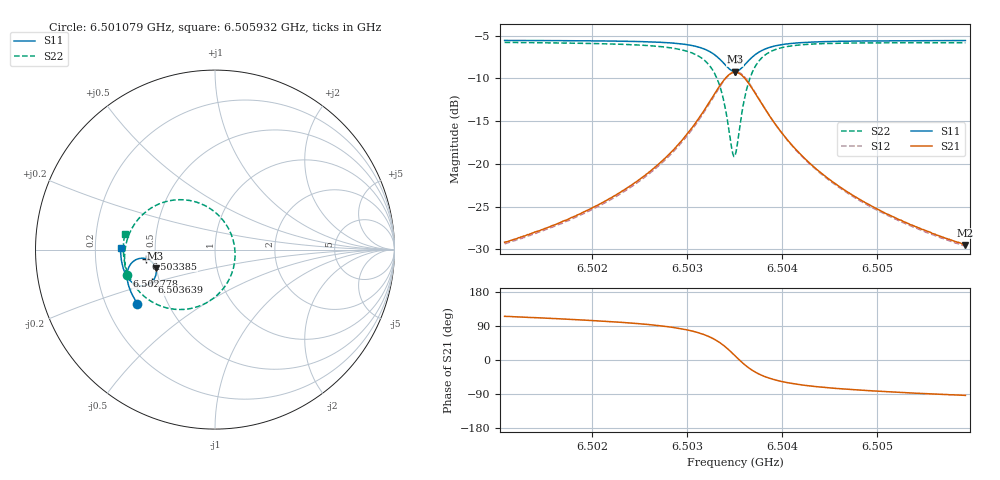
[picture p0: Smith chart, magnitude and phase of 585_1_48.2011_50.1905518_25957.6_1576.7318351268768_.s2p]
#  HZ  S  RI  R  50.00
! Rohde & Schwarz Vector Network Analyzer
! Rohde-Schwarz,ZNB20-2Port,1311601062101988,3.16
! Created: UTC 3/20/2024, 12:02:15 PM
! freq[Hz]  re:S11  im:S11  re:S21  im:S21  re:S12  im:S12  re:S22  im:S22
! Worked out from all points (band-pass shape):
!   401 points, 6.501079 GHz to 6.505932 GHz, reference 50 ohm
!   highest |S21| = -9.29 dB at 6.503506 GHz (marker M1); lowest = -29.5 dB at 6.505932 GHz (marker M2)
!   |S21| within 3 dB of the highest: 6.503264 GHz to 6.503749 GHz (485.4 kHz wide, 0.00746 % of centre)
!   lowest |S11| = -9.2 dB at 6.503506 GHz (marker M3), VSWR 2.06, Z = 24.7 - j5.73 ohm
!   |S11| at or under -10 dB: nowhere
!   |S22| runs from -19.1 to -5.8 dB; largest |S21 - S12| = 0.012
!   S11 on the Smith chart (normalised r, x): 6.501079 GHz: 0.34, -0.28; 6.502778 GHz: 0.33, -0.13; 6.503385 GHz: 0.44, -0.05; 6.503639 GHz: 0.45, -0.19; 6.505932 GHz: 0.31, +0.01
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6.5010794e9  -0.4321 -0.3017  -0.0148 0.0315  -0.0131 0.0315  -0.4927 -0.1442
6.5018923e9  -0.4662 -0.2406  -0.0141 0.0497  -0.0115 0.0492  -0.5038 -0.0558
6.502329e9  -0.4811 -0.201  -0.011 0.0691  -0.00797 0.0679  -0.5 0.00798
6.5027051e9  -0.4894 -0.1584  -0.00113 0.1001  0.00237 0.0977  -0.4785 0.0857
6.5027779e9  -0.49 -0.1485  0.0029 0.109  0.00643 0.1063  -0.4697 0.1052
6.5029842e9  -0.4861 -0.1151  0.0245 0.1432  0.0281 0.1389  -0.4246 0.1729
6.5031419e9  -0.4712 -0.0827  0.0642 0.1796  0.0671 0.1738  -0.3472 0.2367
6.5032875e9  -0.4329 -0.0529  0.1469 0.2084  0.1474 0.2025  -0.197 0.278
6.503336e9  -0.4113 -0.0481  0.1898 0.2071  0.1899 0.2017  -0.1215 0.2694
6.5033845e9  -0.3857 -0.0501  0.2393 0.1919  0.2395 0.1875  -0.0371 0.2348
6.5034695e9  -0.3421 -0.0797  0.3187 0.1165  0.3212 0.1126  0.0899 0.0865
6.5035059e9  -0.331 -0.1021  0.3366 0.0671  0.3406 0.0621  0.1112 -0.00616
6.5035301e9  -0.328 -0.1186  0.3402 0.0319  0.3445 0.0257  0.1088 -0.0705
6.5035665e9  -0.3301 -0.1432  0.3329 -0.0189  0.3367 -0.0275  0.0816 -0.1608
6.5036393e9  -0.3526 -0.1809  0.2855 -0.0964  0.2859 -0.1079  -0.03 -0.2861
6.5037485e9  -0.3989 -0.2015  0.1973 -0.1424  0.1922 -0.1525  -0.2088 -0.3335
6.5039062e9  -0.4467 -0.1922  0.1122 -0.1385  0.1051 -0.1438  -0.362 -0.2845
6.5040761e9  -0.4748 -0.1707  0.066 -0.1171  0.0596 -0.1195  -0.4366 -0.2171
6.5043187e9  -0.4961 -0.1409  0.035 -0.0914  0.0301 -0.0922  -0.4812 -0.143
6.5046827e9  -0.5118 -0.102  0.0153 -0.0672  0.012 -0.0668  -0.5043 -0.0672
6.5051316e9  -0.5212 -0.0598  0.00525 -0.0499  0.00299 -0.0493  -0.5107 -0.00143
6.5059323e9  -0.5264 0.00857  -0.00198 -0.0335  -0.0033 -0.0328  -0.5036 0.0853
